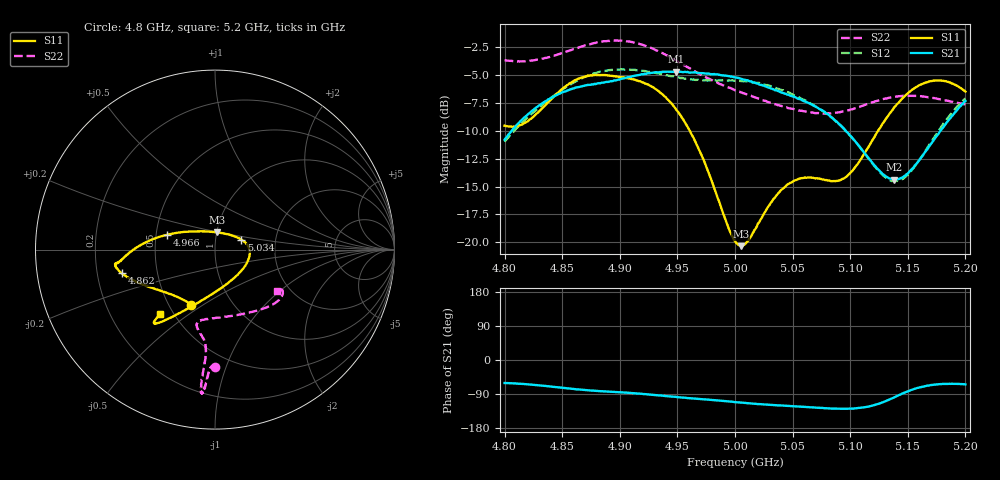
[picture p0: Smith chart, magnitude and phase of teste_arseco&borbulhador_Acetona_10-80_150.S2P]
! Network Analyzer HP8722D
! Hewlett-Packard
! Data name: Linha & Wilkinson
! Saver's name: Rodrigo Anjos
! Comments: Teste da utilização de aquisição
! continua pelo VNA HP8722D
! Time and date: 17/4/2025 15:36
!  Frequency  S11  S21  S12  S22
# HZ  S  MA R 50
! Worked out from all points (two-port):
!   401 points, 4.8 GHz to 5.2 GHz, reference 50 ohm
!   highest |S21| = -4.69 dB at 4.949 GHz (marker M1); lowest = -14.4 dB at 5.138 GHz (marker M2)
!   |S21| within 3 dB of the highest: 4.83 GHz to 5.067 GHz (237.1 MHz wide, 4.79 % of centre); 5.196579 GHz to end of sweep
!   lowest |S11| = -20.3 dB at 5.005 GHz (marker M3), VSWR 1.21, Z = 50.1 + j9.66 ohm
!   |S11| at or under -10 dB: 4.961 GHz to 5.124 GHz (163.4 MHz wide, 3.24 % of centre)
!   |S22| runs from -8.5 to -1.9 dB; largest |S21 - S12| = 0.87
!   S11 on the Smith chart (normalised r, x): 4.8 GHz: 0.65, -0.44; 4.862 GHz: 0.31, -0.11; 4.966 GHz: 0.57, +0.10; 5.034 GHz: 1.34, +0.15; 5.2 GHz: 0.42, -0.39
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4.8e9  0.3333 -113.4  0.2885 -60.7  0.2825 -174.9  0.6562 -90.1
4.819e9  0.3465 -133.3  0.3699 -63.9  0.3587 -173.6  0.6505 -91.6
4.862e9  0.5355 -165.8  0.4946 -77.1  0.5283 -176.9  0.7418 -93.8
4.867e9  0.5488 -167.6  0.5003 -78.6  0.5439 -177.8  0.7548 -94.0
4.902e9  0.5493 -172.3  0.5424 -85.5  0.5958 175.1  0.8017 -95.4
4.934e9  0.4758 -178.2  0.5778 -93.5  0.572 171.8  0.7167 -95.8
4.949e9  0.3937 174.7  0.5826 -97.4  0.5509 172.2  0.6536 -95.4
4.966e9  0.2796 162.8  0.578 -102.1  0.535 173.7  0.5814 -95.0
5e9  0.1014 101.6  0.55 -111.1  0.531 176.2  0.4808 -99.1
5.005e9  0.09606 84.1  0.5417 -112.4  0.5289 176.3  0.4699 -100.2
5.012e9  0.1025 61.0  0.5293 -114.2  0.5232 176.1  0.4566 -101.8
5.034e9  0.1576 20.6  0.4833 -119.0  0.4953 174.8  0.4172 -103.5
5.05e9  0.187 4.5  0.4516 -121.8  0.4601 174.1  0.3967 -99.3
5.067e9  0.195 -13.7  0.4142 -124.9  0.416 173.7  0.382 -90.8
5.086e9  0.1882 -43.9  0.355 -128.3  0.3546 173.6  0.3805 -76.4
5.097e9  0.1972 -66.4  0.3126 -128.7  0.3127 174.6  0.3897 -67.3
5.134e9  0.3763 -116.4  0.1935 -104.3  0.1902 -157.3  0.4454 -43.0
5.138e9  0.4014 -118.7  0.1912 -98.8  0.1879 -151.0  0.4487 -41.1
5.151e9  0.4705 -124.5  0.2064 -81.4  0.2039 -130.8  0.4547 -36.4
5.17e9  0.5286 -128.8  0.2751 -66.1  0.2809 -112.5  0.4454 -32.0
5.184e9  0.5256 -130.1  0.3459 -63.0  0.3578 -107.2  0.4321 -31.0
5.2e9  0.4745 -130.5  0.4303 -64.4  0.4424 -106.4  0.4147 -33.3
